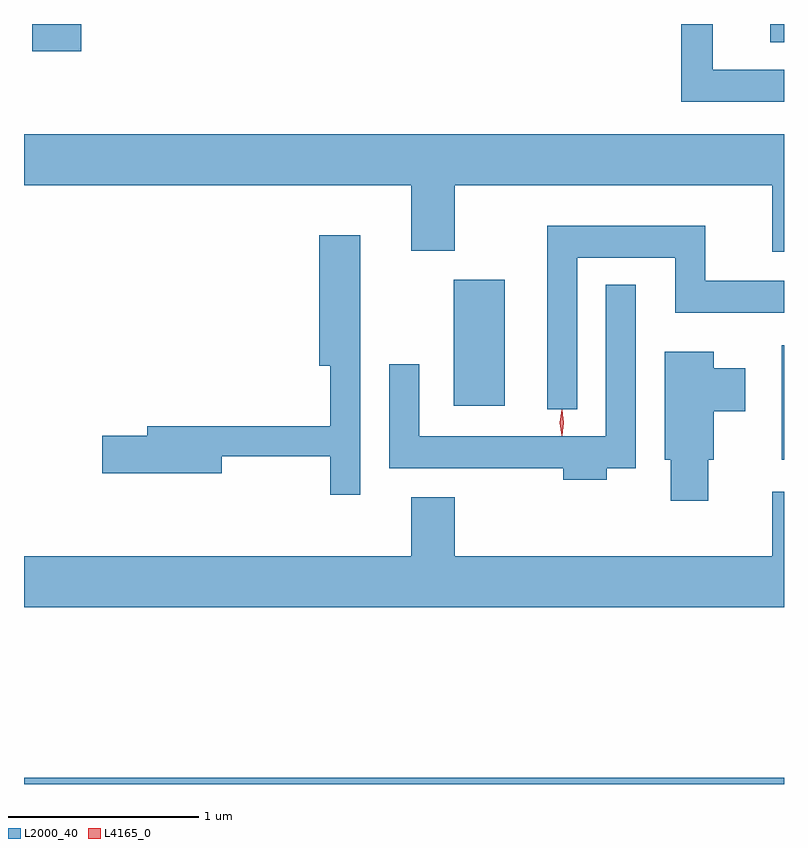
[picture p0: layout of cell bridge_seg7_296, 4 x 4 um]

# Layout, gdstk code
import gdstk
lib = gdstk.Library(unit=1e-6, precision=1e-09)
def R(c, l, rs):  # rectangles x0, y0, x1, y1
    for r in rs: c.add(gdstk.rectangle(r[:2], r[2:], *l))
def P(c, l, *ps):  # polygons
    for p in ps: c.add(gdstk.Polygon(p, *l))
L2000_40 = (2000, 40)
L4165_0 = (4165, 0)

bridge_seg7_296 = lib.new_cell('bridge_seg7_296')
R(bridge_seg7_296, L2000_40, [(1338.913,1786.645,1342.913,1786.679), (1342.901,1788.351,1342.913,1788.954), (1341.176,1788.636,1341.444,1789.299), (1338.956,1790.501,1339.214,1790.645), (1342.841,1790.548,1342.913,1790.645)])
P(bridge_seg7_296, L2000_40, [(1342.913,1790.404),(1342.539,1790.404),(1342.539,1790.645),(1342.371,1790.645),(1342.371,1790.236),(1342.913,1790.236)],
  [(1342.913,1790.064),(1338.913,1790.064),(1338.913,1789.796),(1340.951,1789.796),(1340.951,1789.451),(1341.179,1789.451),(1341.179,1789.796),(1342.851,1789.796),(1342.851,1789.446),(1342.913,1789.446)],
  [(1341.824,1789.416),(1342.341,1789.416),(1342.341,1789.126),(1342.913,1789.126),(1342.913,1789.294),(1342.499,1789.294),(1342.499,1789.584),(1341.666,1789.584),(1341.666,1788.618),(1341.824,1788.618)],
  [(1340.684,1789.534),(1340.466,1789.534),(1340.466,1788.846),(1340.526,1788.846),(1340.526,1788.529),(1339.561,1788.529),(1339.561,1788.479),(1339.326,1788.479),(1339.326,1788.281),(1339.954,1788.281),(1339.954,1788.371),(1340.526,1788.371),(1340.526,1788.168),(1340.684,1788.168)],
  [(1341.979,1788.306),(1342.134,1788.306),(1342.134,1789.273),(1341.976,1789.273),(1341.976,1788.474),(1340.994,1788.474),(1340.994,1788.853),(1340.836,1788.853),(1340.836,1788.306),(1341.751,1788.306),(1341.751,1788.246),(1341.979,1788.246)],
  [(1342.514,1788.351),(1342.544,1788.351),(1342.544,1788.606),(1342.709,1788.606),(1342.709,1788.834),(1342.544,1788.834),(1342.544,1788.919),(1342.286,1788.919),(1342.286,1788.351),(1342.316,1788.351),(1342.316,1788.136),(1342.514,1788.136)],
  [(1342.913,1788.184),(1342.851,1788.184),(1342.851,1787.844),(1341.179,1787.844),(1341.179,1788.154),(1340.951,1788.154),(1340.951,1787.844),(1338.913,1787.844),(1338.913,1787.576),(1342.913,1787.576)])
P(bridge_seg7_296, L4165_0, [(1341.745,1788.479),(1341.744,1788.48),(1341.735,1788.546),(1341.744,1788.612),(1341.745,1788.613),(1341.745,1788.612),(1341.755,1788.546),(1341.745,1788.48)],
  [(1341.744,1788.477),(1341.744,1788.477),(1341.734,1788.546),(1341.744,1788.616),(1341.744,1788.616),(1341.745,1788.616),(1341.754,1788.546),(1341.745,1788.477)])

lib.write_gds('bridge_seg7_296.gds')
